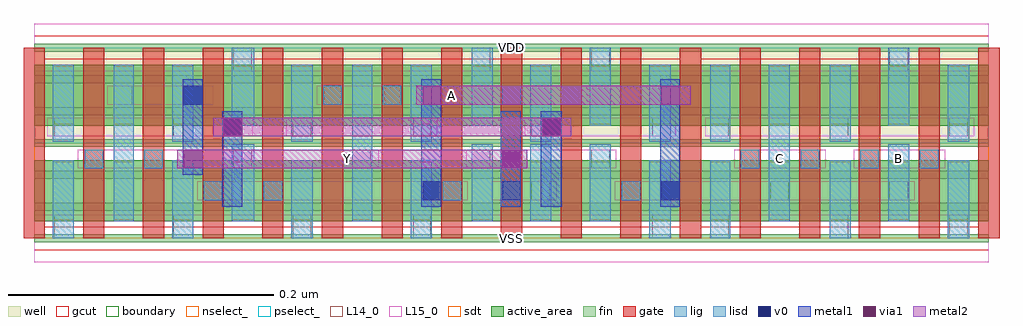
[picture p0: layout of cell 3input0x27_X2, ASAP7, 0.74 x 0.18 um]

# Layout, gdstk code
import gdstk
lib = gdstk.Library(unit=1e-6, precision=1e-09)
def R(c, l, rs):  # rectangles x0, y0, x1, y1
    for r in rs: c.add(gdstk.rectangle(r[:2], r[2:], *l))
def A(c, l, x, y, w, h, nx, ny, dx, dy):  # array of equal rectangles
    R(c, l, [(x+i*dx, y+j*dy, x+i*dx+w, y+j*dy+h) for i in range(nx) for j in range(ny)])
def P(c, l, *ps):  # polygons
    for p in ps: c.add(gdstk.Polygon(p, *l))
well = (1, 0)
fin = (2, 0)
gate = (7, 0)
gcut = (10, 0)
active_area = (11, 0)
nselect_ = (12, 0)
pselect_ = (13, 0)
L14_0 = (14, 0)
L15_0 = (15, 0)
lig = (16, 0)
lisd = (17, 0)
v0 = (18, 0)
metal1 = (19, 0)
metal2 = (20, 0)
via1 = (21, 0)
sdt = (88, 0)
boundary = (100, 0)

c_3input0x27_x2 = lib.new_cell('3input0x27_X2')
R(c_3input0x27_x2, well, [(0,0.072,0.72,0.144)])
A(c_3input0x27_x2, fin, 0, -0.003, 0.72, 0.006, 1, 7, 0, 0.024)
A(c_3input0x27_x2, gate, -0.008, 0, 0.016, 0.144, 17, 1, 0.045, 0)
P(c_3input0x27_x2, gcut, [(0,-0.009),(0,0),(-0.008,0),(-0.008,0.135),(0.008,0.135),(0.008,0.009),(0.487,0.009),(0.487,0.135),(0.503,0.135),(0.503,0.009),(0.712,0.009),(0.712,0.135),(-0.008,0.135),(-0.008,0.144),(0,0.144),(0,0.153),(0.72,0.153),(0.72,0.144),(0.728,0.144),(0.728,0),(0.72,0),(0.72,-0.009)])
R(c_3input0x27_x2, active_area, [(0,0.013,0.72,0.059), (0,0.085,0.72,0.131)])
R(c_3input0x27_x2, nselect_, [(0,0,0.72,0.072)])
R(c_3input0x27_x2, pselect_, [(0,0.072,0.72,0.144)])
A(c_3input0x27_x2, L14_0, 0.51, 0, 0.014, 0.018, 3, 1, 0.09, 0)
A(c_3input0x27_x2, L14_0, 0.15, 0.053, 0.014, 0.014, 4, 1, 0.09, 0)
A(c_3input0x27_x2, L14_0, 0.533, 0.053, 0.014, 0.014, 4, 1, 0.045, 0)
A(c_3input0x27_x2, L14_0, 0.51, 0.077, 0.014, 0.014, 3, 1, 0.09, 0)
R(c_3input0x27_x2, L14_0, [(0.015,0,0.03,0.018), (0.105,0,0.12,0.018), (0.195,0,0.209,0.018), (0.286,0,0.299,0.018), (0.466,0,0.48,0.018), (0.128,0.029,0.142,0.043), (0.173,0.029,0.187,0.043), (0.308,0.029,0.322,0.043), (0.375,0.029,0.389,0.043), (0.443,0.029,0.457,0.043), (0.555,0.029,0.569,0.043), (0.645,0.029,0.659,0.043), (0.038,0.053,0.052,0.067), (0.083,0.053,0.097,0.067), (0.015,0.077,0.03,0.091), (0.105,0.077,0.12,0.091), (0.195,0.077,0.209,0.091), (0.286,0.077,0.299,0.091), (0.375,0.077,0.389,0.091), (0.466,0.077,0.48,0.091), (0.06,0.101,0.074,0.115), (0.218,0.101,0.232,0.115), (0.263,0.101,0.277,0.115), (0.353,0.101,0.367,0.115), (0.398,0.101,0.412,0.115), (0.15,0.126,0.164,0.144), (0.33,0.126,0.344,0.144), (0.42,0.126,0.434,0.144), (0.645,0.126,0.659,0.144)])
R(c_3input0x27_x2, L15_0, [(0,-0.018,0.72,0.018), (0.123,0.029,0.327,0.043), (0.345,0.029,0.394,0.043), (0.438,0.029,0.664,0.043), (0.033,0.053,0.26,0.067), (0.326,0.053,0.439,0.067), (0.528,0.053,0.597,0.067), (0.618,0.053,0.687,0.067), (0.01,0.077,0.165,0.091), (0.19,0.077,0.304,0.091), (0.37,0.077,0.484,0.091), (0.506,0.077,0.709,0.091), (0.055,0.101,0.135,0.115), (0.213,0.101,0.417,0.115), (0,0.126,0.72,0.162)])
A(c_3input0x27_x2, lig, 0.173, 0.029, 0.014, 0.014, 3, 1, 0.135, 0)
A(c_3input0x27_x2, lig, 0.533, 0.053, 0.014, 0.014, 4, 1, 0.045, 0)
R(c_3input0x27_x2, lig, [(0.128,0.029,0.142,0.043), (0.038,0.053,0.052,0.067), (0.083,0.053,0.097,0.067), (0.218,0.101,0.232,0.115), (0.263,0.101,0.277,0.115), (0.353,0.101,0.367,0.115), (0.398,0.101,0.412,0.115)])
A(c_3input0x27_x2, lisd, 0.014, 0, 0.016, 0.059, 4, 1, 0.09, 0)
A(c_3input0x27_x2, lisd, 0.014, 0.073, 0.016, 0.058, 6, 1, 0.09, 0)
R(c_3input0x27_x2, lisd, [(0.464,0,0.48,0.059), (0.51,0,0.525,0.059), (0.6,0,0.616,0.059), (0.689,0,0.705,0.059), (0.06,0.013,0.075,0.131), (0.149,0.013,0.166,0.071), (0.24,0.013,0.255,0.131), (0.33,0.013,0.346,0.071), (0.374,0.013,0.39,0.071), (0.419,0.013,0.435,0.071), (0.554,0.013,0.57,0.131), (0.644,0.013,0.66,0.071), (0.51,0.073,0.525,0.131), (0.6,0.073,0.616,0.131), (0.689,0.073,0.705,0.131), (0.149,0.085,0.166,0.144), (0.33,0.085,0.346,0.144), (0.419,0.085,0.435,0.144), (0.644,0.085,0.66,0.144)])
R(c_3input0x27_x2, v0, [(0.293,0.029,0.307,0.043), (0.353,0.029,0.367,0.043), (0.473,0.029,0.487,0.043), (0.143,0.077,0.157,0.091), (0.383,0.077,0.397,0.091), (0.113,0.101,0.127,0.115)])
R(c_3input0x27_x2, metal1, [(0.142,0.024,0.157,0.096), (0.292,0.024,0.307,0.12), (0.352,0.024,0.367,0.096), (0.382,0.024,0.398,0.096), (0.472,0.024,0.487,0.12), (0.112,0.048,0.127,0.12)])
R(c_3input0x27_x2, metal2, [(0.108,0.053,0.372,0.067), (0.135,0.077,0.405,0.091), (0.288,0.101,0.495,0.115)])
R(c_3input0x27_x2, via1, [(0.113,0.053,0.127,0.067), (0.353,0.053,0.367,0.067), (0.143,0.077,0.157,0.091), (0.383,0.077,0.397,0.091), (0.293,0.101,0.307,0.115), (0.473,0.101,0.487,0.115)])
A(c_3input0x27_x2, sdt, 0.014, 0.014, 0.016, 0.044, 4, 2, 0.09, 0.072)
A(c_3input0x27_x2, sdt, 0.374, 0.014, 0.016, 0.044, 3, 2, 0.045, 0.072)
R(c_3input0x27_x2, sdt, [(0.06,0.014,0.075,0.058), (0.149,0.014,0.166,0.058), (0.24,0.014,0.255,0.058), (0.33,0.014,0.346,0.058), (0.51,0.014,0.525,0.058), (0.554,0.014,0.57,0.058), (0.6,0.014,0.616,0.058), (0.644,0.014,0.66,0.058), (0.689,0.014,0.705,0.058), (0.06,0.086,0.075,0.13), (0.149,0.086,0.166,0.13), (0.24,0.086,0.255,0.13), (0.33,0.086,0.346,0.13), (0.51,0.086,0.525,0.13), (0.554,0.086,0.57,0.13), (0.6,0.086,0.616,0.13), (0.644,0.086,0.66,0.13), (0.689,0.086,0.705,0.13)])
R(c_3input0x27_x2, boundary, [(0,0,0.72,0.144)])
c_3input0x27_x2.add(gdstk.Label('VSS', (0.36,0), layer=15, texttype=251))
c_3input0x27_x2.add(gdstk.Label('VDD', (0.36,0.144), layer=15, texttype=251))
c_3input0x27_x2.add(gdstk.Label('C', (0.562,0.06), layer=15, texttype=251))
c_3input0x27_x2.add(gdstk.Label('VSS', (0.36,0), layer=15, texttype=251))
c_3input0x27_x2.add(gdstk.Label('VDD', (0.36,0.144), layer=15, texttype=251))
c_3input0x27_x2.add(gdstk.Label('B', (0.652,0.06), layer=15, texttype=251))
c_3input0x27_x2.add(gdstk.Label('VSS', (0.36,0), layer=15, texttype=251))
c_3input0x27_x2.add(gdstk.Label('VDD', (0.36,0.144), layer=15, texttype=251))
c_3input0x27_x2.add(gdstk.Label('A', (0.315,0.108), layer=15, texttype=251))
c_3input0x27_x2.add(gdstk.Label('VSS', (0.36,0), layer=15, texttype=251))
c_3input0x27_x2.add(gdstk.Label('VDD', (0.36,0.144), layer=15, texttype=251))
c_3input0x27_x2.add(gdstk.Label('Y', (0.236,0.06), layer=20, texttype=251))
c_3input0x27_x2.add(gdstk.Label('VSS', (0.36,0), layer=3, texttype=251))
c_3input0x27_x2.add(gdstk.Label('VSS', (0.36,0), layer=3, texttype=251))
c_3input0x27_x2.add(gdstk.Label('VSS', (0.36,0), layer=3, texttype=251))
c_3input0x27_x2.add(gdstk.Label('VSS', (0.36,0), layer=3, texttype=251))
c_3input0x27_x2.add(gdstk.Label('VDD', (0.36,0.144), layer=1, texttype=251))
c_3input0x27_x2.add(gdstk.Label('VDD', (0.36,0.144), layer=1, texttype=251))
c_3input0x27_x2.add(gdstk.Label('VDD', (0.36,0.144), layer=1, texttype=251))
c_3input0x27_x2.add(gdstk.Label('VDD', (0.36,0.144), layer=1, texttype=251))

lib.write_gds('3input0x27_X2.gds')
